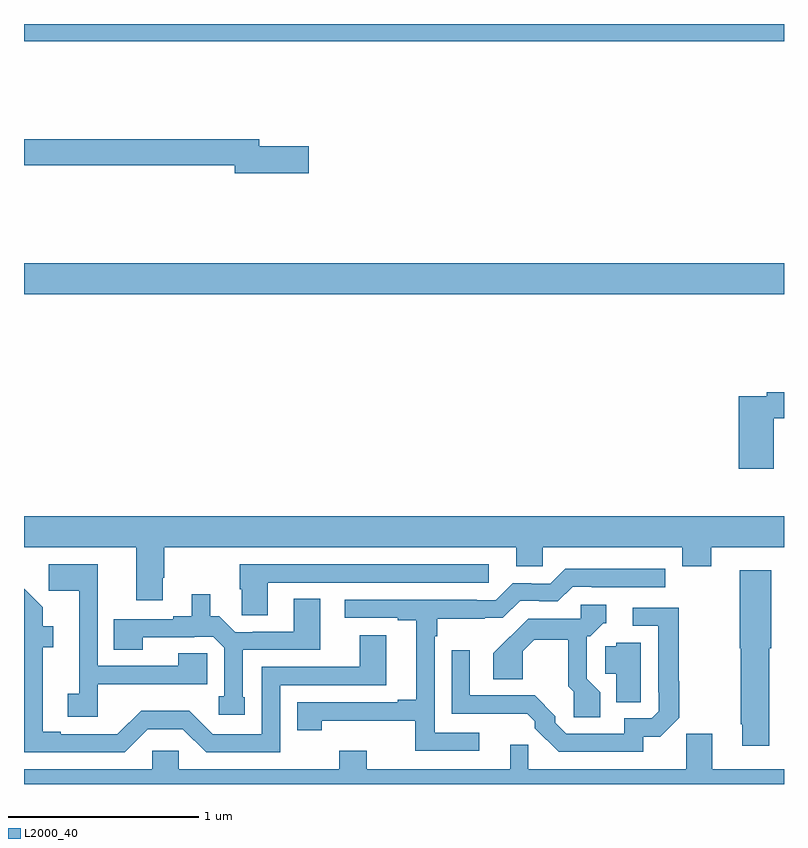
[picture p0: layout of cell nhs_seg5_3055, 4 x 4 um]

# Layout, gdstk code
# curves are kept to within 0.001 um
import gdstk
lib = gdstk.Library(unit=1e-6, precision=1e-09)
def R(c, l, rs):  # rectangles x0, y0, x1, y1
    for r in rs: c.add(gdstk.rectangle(r[:2], r[2:], *l))
def P(c, l, *ps):  # polygons
    for p in ps: c.add(gdstk.Polygon(p, *l))
L2000_40 = (2000, 40)

nhs_seg5_3055 = lib.new_cell('nhs_seg5_3055')
R(nhs_seg5_3055, L2000_40, [(287,907.376,291,907.54), (287,908.708,291,908.799)])
P(nhs_seg5_3055, L2000_40, [(288.499,908.156),(288.238,908.156),(288.238,908.192),(287,908.192),(287,908.056),(288.11,908.056),(288.11,908.014),(288.499,908.014)],
  [(290.945,906.724),(291,906.724),(291,906.86),(290.908,906.86),(290.908,906.84),(290.762,906.84),(290.762,906.459),(290.945,906.459)],
  [(287.731,905.884),(287.739,905.884),(287.739,906.044),(289.592,906.044),(289.592,905.946),(289.731,905.946),(289.731,906.044),(290.465,906.044),(290.465,905.945),(290.618,905.945),(290.618,906.044),(291,906.044),(291,906.208),(287,906.208),(287,906.044),(287.591,906.044),(287.591,905.766),(287.731,905.766)],
  [(287.388,905.324),(287.855,905.324),(287.855,905.325),(287.965,905.325),(287.965,905.486),(287.812,905.486),(287.812,905.421),(287.388,905.421),(287.388,905.956),(287.13,905.956),(287.13,905.817),(287.291,905.817),(287.291,905.274),(287.229,905.274),(287.229,905.154),(287.388,905.154)],
  [(288.283,905.859),(289.447,905.859),(289.447,905.955),(288.136,905.955),(288.136,905.823),(288.145,905.823),(288.145,905.686),(288.283,905.686)],
  [(289.396,905.07),(289.161,905.07),(289.161,905.576),(289.174,905.576),(289.174,905.67),(289.424,905.67),(289.424,905.673),(289.521,905.673),(289.611,905.763),(289.712,905.763),(289.712,905.76),(289.809,905.76),(289.887,905.838),(289.987,905.838),(289.987,905.835),(290.374,905.835),(290.374,905.931),(289.849,905.932),(289.77,905.853),(289.67,905.853),(289.67,905.856),(289.572,905.856),(289.482,905.766),(289.382,905.766),(289.382,905.769),(288.687,905.769),(288.687,905.673),(288.968,905.673),(288.968,905.661),(289.064,905.661),(289.064,905.242),(288.968,905.242),(288.968,905.229),(288.438,905.229),(288.438,905.082),(288.566,905.082),(288.566,905.132),(289.06,905.132),(289.06,904.974),(289.396,904.974)],
  [(290.922,905.514),(290.932,905.514),(290.932,905.923),(290.767,905.923),(290.767,905.514),(290.773,905.514),(290.773,905.113),(290.78,905.113),(290.78,905.001),(290.922,905.001)],
  [(287.652,905.088),(287.835,905.088),(287.958,904.965),(288.348,904.965),(288.348,905.319),(288.907,905.319),(288.907,905.581),(288.767,905.581),(288.767,905.415),(288.252,905.415),(288.252,905.061),(287.994,905.061),(287.87,905.185),(287.616,905.185),(287.492,905.061),(287.194,905.061),(287.194,905.074),(287.098,905.074),(287.098,905.52),(287.155,905.52),(287.155,905.63),(287.099,905.63),(287.099,905.728),(287,905.827),(287.001,904.965),(287.529,904.965)],
  [(288.163,905.256),(288.15,905.256),(288.15,905.505),(288.559,905.505),(288.559,905.774),(288.419,905.774),(288.419,905.601),(288.205,905.601),(288.205,905.598),(288.111,905.598),(288.027,905.682),(287.98,905.682),(287.98,905.797),(287.882,905.797),(287.882,905.682),(287.786,905.682),(287.786,905.667),(287.473,905.667),(287.473,905.506),(287.625,905.506),(287.625,905.571),(287.897,905.571),(287.897,905.574),(287.997,905.574),(288.054,905.517),(288.054,905.262),(288.024,905.262),(288.024,905.163),(288.163,905.163)],
  [(290.032,905.282),(289.962,905.352),(289.962,905.577),(289.98,905.577),(290.049,905.646),(290.065,905.646),(290.065,905.742),(289.929,905.742),(289.929,905.67),(289.655,905.67),(289.558,905.573),(289.557,905.574),(289.47,905.486),(289.47,905.35),(289.624,905.35),(289.624,905.498),(289.685,905.559),(289.864,905.559),(289.864,905.314),(289.893,905.285),(289.893,905.151),(290.032,905.151)],
  [(290.259,905.049),(290.348,905.049),(290.448,905.148),(290.448,905.339),(290.446,905.339),(290.446,905.727),(290.205,905.727),(290.205,905.631),(290.337,905.631),(290.337,905.281),(290.34,905.281),(290.34,905.181),(290.304,905.145),(290.16,905.145),(290.16,905.064),(289.854,905.064),(289.797,905.121),(289.797,905.155),(289.687,905.265),(289.347,905.265),(289.347,905.503),(289.251,905.503),(289.251,905.169),(289.648,905.168),(289.689,905.128),(289.689,905.093),(289.814,904.968),(290.259,904.968)],
  [(290.247,905.542),(290.118,905.542),(290.118,905.523),(290.058,905.523),(290.058,905.378),(290.117,905.378),(290.117,905.23),(290.247,905.23)],
  [(291,904.876),(290.623,904.876),(290.623,905.064),(290.485,905.064),(290.485,904.876),(289.655,904.876),(289.655,905.006),(289.559,905.006),(289.559,904.876),(288.805,904.876),(288.805,904.975),(288.658,904.975),(288.658,904.876),(287.814,904.876),(287.814,904.974),(287.676,904.974),(287.676,904.876),(287,904.876),(287,904.799),(291,904.799)])

lib.write_gds('nhs_seg5_3055.gds')
